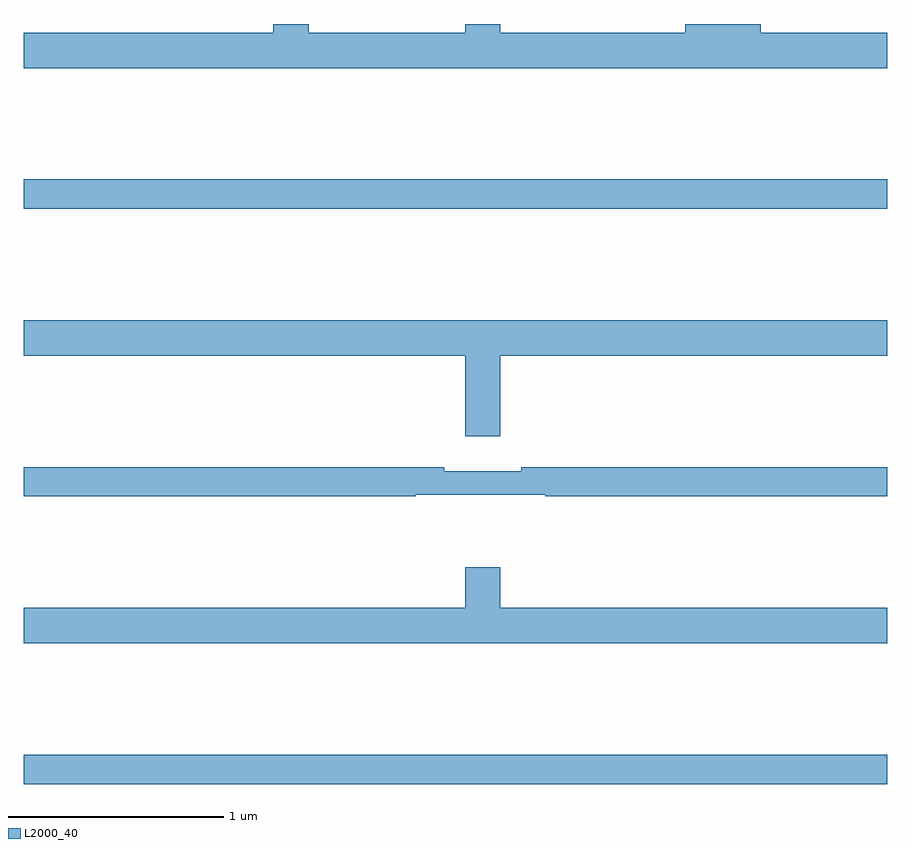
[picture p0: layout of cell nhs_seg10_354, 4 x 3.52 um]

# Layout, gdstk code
import gdstk
lib = gdstk.Library(unit=1e-6, precision=1e-09)
def R(c, l, rs):  # rectangles x0, y0, x1, y1
    for r in rs: c.add(gdstk.rectangle(r[:2], r[2:], *l))
def P(c, l, *ps):  # polygons
    for p in ps: c.add(gdstk.Polygon(p, *l))
L2000_40 = (2000, 40)

nhs_seg10_354 = lib.new_cell('nhs_seg10_354')
R(nhs_seg10_354, L2000_40, [(127,1316.98,131,1317.116), (127,1319.644,131,1319.78)])
P(nhs_seg10_354, L2000_40, [(131,1320.46),(130.414,1320.46),(130.414,1320.5),(130.064,1320.5),(130.064,1320.46),(129.208,1320.46),(129.208,1320.5),(129.044,1320.5),(129.044,1320.46),(128.32,1320.46),(128.32,1320.5),(128.156,1320.5),(128.156,1320.46),(127,1320.46),(127,1320.296),(131,1320.296)],
  [(129.208,1318.964),(131,1318.964),(131,1319.128),(127,1319.128),(127,1318.964),(129.044,1318.964),(129.044,1318.59),(129.208,1318.59)],
  [(128.816,1318.32),(129.416,1318.32),(129.416,1318.312),(131,1318.312),(131,1318.448),(129.304,1318.448),(129.304,1318.429),(128.948,1318.429),(128.948,1318.448),(127,1318.448),(127,1318.312),(128.816,1318.312)],
  [(131,1317.796),(129.208,1317.796),(129.208,1317.985),(129.044,1317.985),(129.044,1317.796),(127,1317.796),(127,1317.632),(131,1317.632)])

lib.write_gds('nhs_seg10_354.gds')
